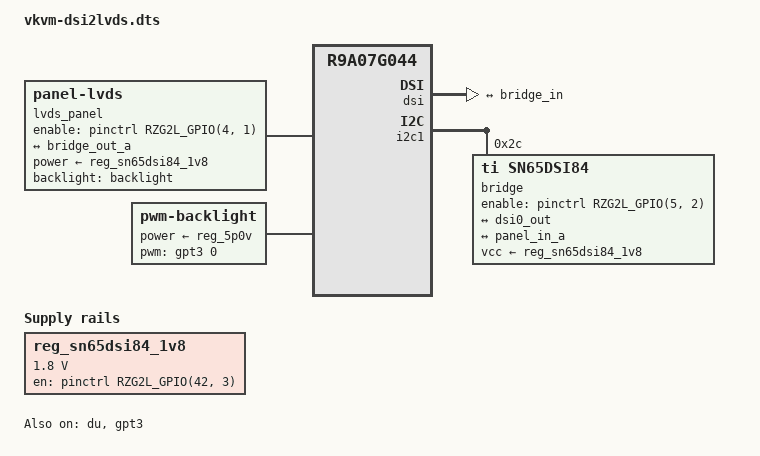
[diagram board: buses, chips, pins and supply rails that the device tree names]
/*
 * Copyright 2026 Vekatech
 *
 * This program is free software; you can redistribute it and/or
 * modify it under the terms of the GNU General Public License
 * as published by the Free Software Foundation; either version 2
 * of the License, or (at your option) any later version.
 *
 * This program is distributed in the hope that it will be useful,
 * but WITHOUT ANY WARRANTY; without even the implied warranty of
 * MERCHANTABILITY or FITNESS FOR A PARTICULAR PURPOSE. See the
 * GNU General Public License for more details.
 */

/dts-v1/;
/plugin/;

#include <dt-bindings/pinctrl/rzg2l-pinctrl.h>
#include <dt-bindings/gpio/gpio.h>

/{
	compatible = "vekatech,vk-vmcarrier", 
	             "renesas,r9a07g044l2", 
		     "renesas,r9a07g044";
};

&{/} {
	reg_sn65dsi84_1v8: regulator-lvds {
		compatible = "regulator-fixed";
		regulator-name = "vcc-lvds";

		regulator-min-microvolt = <1800000>;
		regulator-max-microvolt = <1800000>;

		gpio = <&pinctrl RZG2L_GPIO(42, 3) GPIO_ACTIVE_HIGH>;
		enable-active-high;

		startup-delay-us = <1000>;
		regulator-always-on;
		regulator-boot-on;
	};

	lvds_panel: lvds-panel {
		status = "okay";
		compatible = "panel-lvds";

		power-supply = <&reg_sn65dsi84_1v8>;
		backlight = <&backlight>;

		rotation = <90>;

		width-mm = <344>;
		height-mm = <194>;

		enable-gpios = <&pinctrl RZG2L_GPIO(4, 1) GPIO_ACTIVE_HIGH>;

		data-mapping = "jeida-18";

		panel-timing {
			clock-frequency = <69300000>;
		    
			hactive = <1366>;
			vactive = <768>;

			hfront-porch = <16>;
			hsync-len = <34>;
			hback-porch = <50>;

			vfront-porch = <12>;
			vsync-len = <6>;
			vback-porch = <2>;

			hsync-active = <0>;
			vsync-active = <0>;
			de-active = <1>;
			pixelclk-active = <0>;
		};

		port {
			panel_in_a: endpoint {
				remote-endpoint = <&bridge_out_a>;
			};
		};
	};

	backlight: backlight {
		compatible = "pwm-backlight";
		brightness-levels = <0 8 32 64 96 128 160 192 224 255>;
		default-brightness-level = <8>;
		power-supply = <&reg_5p0v>;
		pwms = <&gpt3 0 40000 0>;
		status = "okay";
	};
};

&du {
	status = "okay";
};

&dsi {
	status = "okay";
	ports {
		#address-cells = <1>;
		#size-cells = <0>;
		port@1 {
			reg = <1>;
			dsi0_out: endpoint {
				data-lanes = <1 2 3 4>;
				remote-endpoint = <&bridge_in>;
			};
		};
	};
};

&i2c1 {
	#address-cells = <1>;
	#size-cells = <0>;

	bridge@2c {
		status = "okay";
		compatible = "ti,sn65dsi84";

		reg = <0x2c>;
		enable-gpios = <&pinctrl RZG2L_GPIO(5, 2) GPIO_ACTIVE_HIGH>;

		vcc-supply = <&reg_sn65dsi84_1v8>;

		ports {
			#address-cells = <1>;
			#size-cells = <0>;

			port@0 {
				reg = <0>;
				bridge_in: endpoint {
					remote-endpoint = <&dsi0_out>;
					data-lanes = <1 2 3 4>;
				};
			};

			port@2 {
				reg = <2>;
				bridge_out_a: endpoint {
					remote-endpoint = <&panel_in_a>;
				};
			};
			// port@3 {
			// 	reg = <3>;
			// 	bridge_out_b: endpoint {
			// 		remote-endpoint = <&panel_in_b>;
			// 	};
			// };
		};
	};
};


&pinctrl {
	gpt3_pins: gpt3 {
		pinmux = <RZG2L_PORT_PINMUX(19, 1, 2)>; /* Channel B */
	};
};

&gpt3 {
	pinctrl-0 = <&gpt3_pins>;
	pinctrl-names = "default";
	channel="channel_B";
	status = "okay";
};
